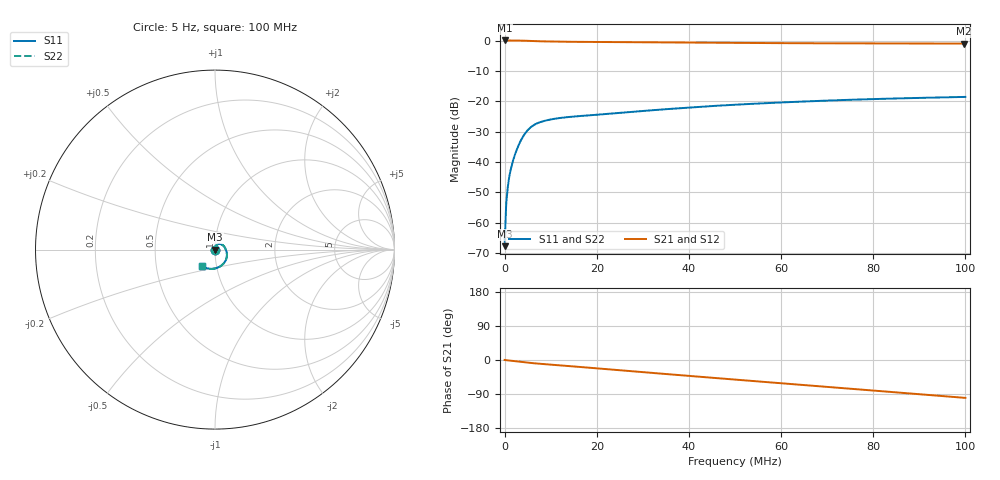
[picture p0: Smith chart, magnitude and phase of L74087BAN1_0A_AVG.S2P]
!Agilent Technologies,E5061B,MY49102235,A.02.00
!Date: Mon Jul 10 15:52:18 2023
!Data & Calibration Information:
!Freq	S11:SOLT2(ON)	S21:SOLT2(ON)	S12:SOLT2(ON)	S22:SOLT2(ON)
# Hz S RI R 50
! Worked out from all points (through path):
!   1600 points, 5 Hz to 100 MHz, reference 50 ohm
!   highest |S21| = 0.02 dB at 5 Hz (marker M1); lowest = -1.0 dB at 99.62 MHz (marker M2)
!   group delay of S21, straight-line fit = 2.72 ns
!   lowest |S11| = -67.7 dB at 62.54 kHz (marker M3), VSWR 1.00, Z = 50 + j0.0412 ohm
!   |S11| at or under -10 dB: start of sweep to end of sweep
!   |S22| runs from -79.1 to -18.4 dB; largest |S21 - S12| = 0.0028
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5  -0.000396 0.000447  1.002 0.00239  1.001 -6.98e-05  -9.07e-05 -6.36e-05
62544.08  -3.81e-05 0.000412  1 -0.00131  1 -0.0011  2.94e-05 0.000331
375239.5  0.000161 0.00218  1 -0.00875  1 -0.0088  0.00011 0.00214
562856.8  0.000285 0.00326  0.9996 -0.0134  0.9993 -0.0131  0.000238 0.00323
625395.8  0.00031 0.00359  0.9996 -0.0148  0.999 -0.0146  0.000313 0.00363
813013.1  0.000148 0.00458  1 -0.0193  0.9988 -0.0187  0.000147 0.00454
1000630  0.000209 0.00569  0.9996 -0.0233  0.9993 -0.0233  0.000242 0.00562
1500943  0.000561 0.0085  0.9994 -0.0357  0.9985 -0.0354  0.000566 0.0085
2188873  0.00125 0.0128  0.998 -0.052  0.9978 -0.0521  0.00125 0.0128
3001881  0.00311 0.0184  0.9957 -0.0718  0.9957 -0.0716  0.00311 0.0184
4002506  0.00792 0.0251  0.9896 -0.0972  0.9895 -0.0969  0.00787 0.0251
4815514  0.0136 0.0291  0.9829 -0.116  0.9826 -0.1157  0.0136 0.0292
5628523  0.02 0.0313  0.9751 -0.1326  0.975 -0.1323  0.02 0.0313
7692312  0.0342 0.0297  0.9566 -0.1681  0.9564 -0.1678  0.0342 0.0298
1.11945e7  0.0478 0.0209  0.9325 -0.2216  0.9324 -0.2214  0.0477 0.021
1.669794e7  0.057 0.00731  0.8987 -0.304  0.8987 -0.304  0.0571 0.00733
3.333334e7  0.0667 -0.0284  0.7589 -0.5378  0.7589 -0.5376  0.0667 -0.0289
5.003127e7  0.0544 -0.0689  0.5661 -0.7165  0.5664 -0.7165  0.0539 -0.0696
6.672921e7  0.0182 -0.0988  0.3405 -0.8342  0.3403 -0.8341  0.0176 -0.0996
8.33646e7  -0.0278 -0.107  0.0956 -0.8892  0.0958 -0.8893  -0.0287 -0.1079
9.962477e7  -0.0717 -0.0936  -0.1491 -0.877  -0.1495 -0.8772  -0.0729 -0.0946
1e8  -0.0726 -0.0931  -0.1547 -0.8761  -0.1551 -0.8761  -0.074 -0.0941
